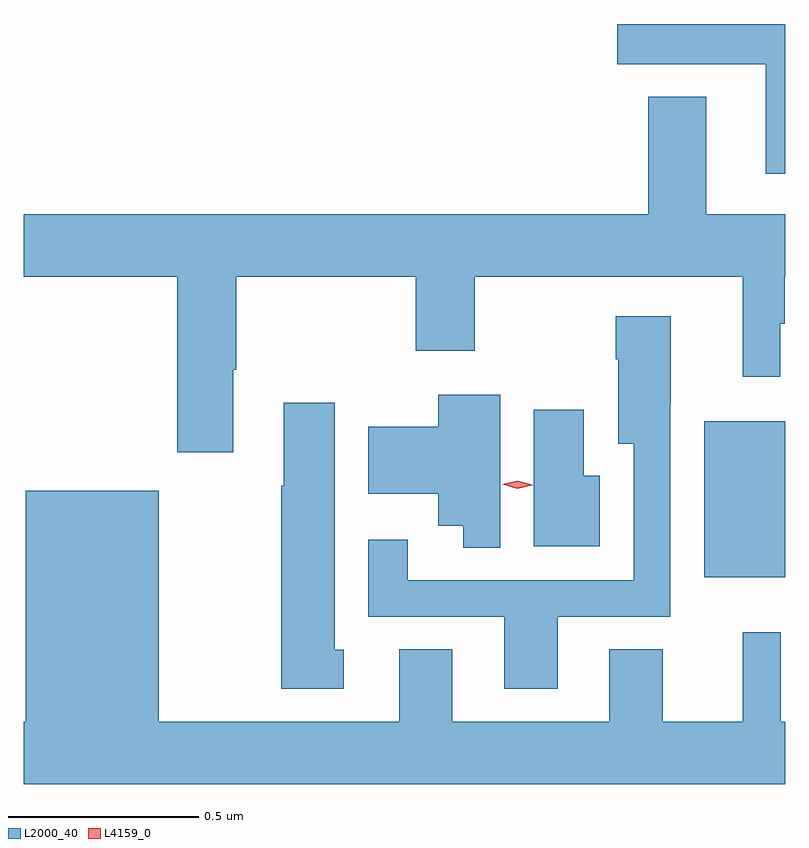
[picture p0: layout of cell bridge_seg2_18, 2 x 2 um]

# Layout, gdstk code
import gdstk
lib = gdstk.Library(unit=1e-6, precision=1e-09)
def R(c, l, rs):  # rectangles x0, y0, x1, y1
    for r in rs: c.add(gdstk.rectangle(r[:2], r[2:], *l))
def P(c, l, *ps):  # polygons
    for p in ps: c.add(gdstk.Polygon(p, *l))
L2000_40 = (2000, 40)
L4159_0 = (4159, 0)

bridge_seg2_18 = lib.new_cell('bridge_seg2_18')
R(bridge_seg2_18, L2000_40, [(759.65,638.855,759.863,639.265)])
P(bridge_seg2_18, L2000_40, [(759.863,640.308),(759.422,640.308),(759.422,640.202),(759.812,640.202),(759.812,639.915),(759.863,639.915)],
  [(758.413,639.4),(758.421,639.4),(758.421,639.644),(758.893,639.644),(758.893,639.45),(759.048,639.45),(759.048,639.644),(759.752,639.644),(759.752,639.381),(759.85,639.381),(759.85,639.521),(759.862,639.521),(759.862,639.644),(759.863,639.644),(759.863,639.808),(759.655,639.808),(759.655,640.117),(759.503,640.117),(759.503,639.808),(757.863,639.808),(757.863,639.644),(758.266,639.644),(758.266,639.183),(758.413,639.183)],
  [(759.265,638.751),(759.561,638.751),(759.561,639.31),(759.562,639.31),(759.562,639.541),(759.418,639.541),(759.418,639.428),(759.425,639.428),(759.425,639.206),(759.465,639.206),(759.465,638.847),(758.872,638.847),(758.872,638.953),(758.768,638.953),(758.768,638.751),(759.125,638.751),(759.125,638.562),(759.265,638.562)],
  [(759.114,639.334),(758.951,639.334),(758.951,639.25),(758.768,639.25),(758.768,639.074),(758.951,639.074),(758.951,638.99),(759.017,638.99),(759.017,638.932),(759.114,638.932)],
  [(758.704,638.664),(758.68,638.664),(758.68,639.313),(758.546,639.313),(758.546,639.095),(758.539,639.095),(758.539,638.562),(758.704,638.562)],
  [(759.376,639.121),(759.334,639.121),(759.334,639.295),(759.203,639.295),(759.203,638.936),(759.376,638.936)],
  [(759.863,638.476),(759.851,638.476),(759.851,638.71),(759.752,638.71),(759.752,638.476),(759.541,638.476),(759.541,638.666),(759.401,638.666),(759.401,638.476),(758.989,638.476),(758.989,638.666),(758.849,638.666),(758.849,638.476),(758.218,638.476),(758.218,639.082),(757.868,639.082),(757.868,638.476),(757.863,638.476),(757.863,638.312),(759.863,638.312)])
P(bridge_seg2_18, L4159_0, [(759.159,639.088),(759.12,639.099),(759.119,639.099),(759.12,639.099),(759.16,639.108),(759.199,639.098),(759.2,639.097),(759.199,639.097)])

lib.write_gds('bridge_seg2_18.gds')
